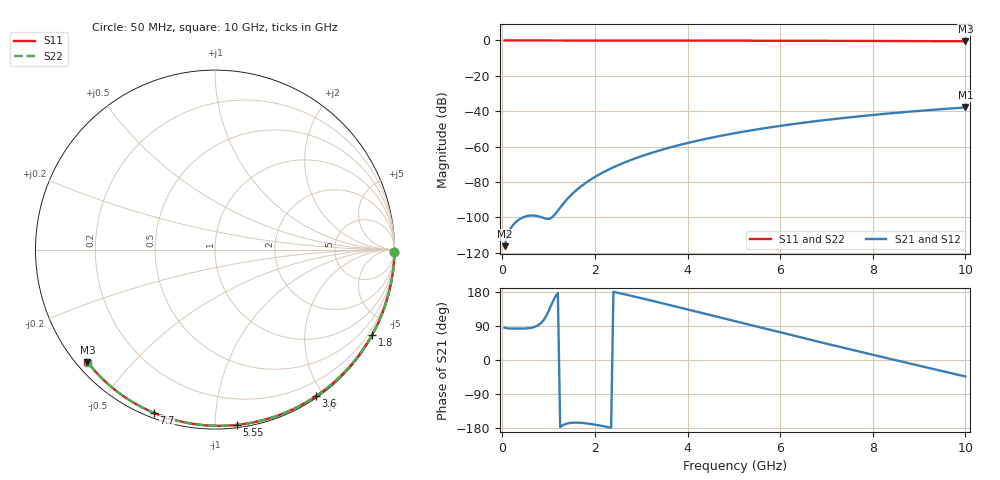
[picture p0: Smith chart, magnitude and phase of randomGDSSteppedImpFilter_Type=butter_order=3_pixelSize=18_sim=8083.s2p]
! freq	dB(S11)	phase(S11)	dB(S12)	phase(S12)
!  dB(S21)	phase(S21)	dB(S22)	phase(S22)
!S-par simulation data
#  GHz  S  DB  R 50
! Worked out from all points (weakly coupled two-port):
!   200 points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, 50 MHz to 10 GHz, reference 50 ohm
!   highest |S21| = -37.85 dB at 10 GHz (marker M1); lowest = -116.2 dB at 50 MHz (marker M2)
!   lowest |S11| = -0.5 dB at 10 GHz (marker M3), VSWR 36.95, Z = 1.55 - j18.8 ohm
!   |S11| at or under -10 dB: nowhere
!   |S22| runs from -0.5 to 0.0 dB; largest |S21 - S12| = 0
!   S11 on the Smith chart (normalised r, x): 50 MHz: open; 1.8 GHz: 0.03, -3.95; 3.6 GHz: 0.02, -1.90; 5.55 GHz: 0.02, -1.13; 7.7 GHz: 0.02, -0.69; 10 GHz: 0.03, -0.38
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0.05  -0.00 -0.8  -116.23 85.4  -116.23 85.4  -0.00 -0.8
0.45  -0.01 -7.2  -99.94 83.0  -99.94 83.0  -0.01 -7.2
0.9  -0.02 -14.4  -100.39 106.5  -100.39 106.5  -0.02 -14.3
1.75  -0.04 -27.7  -81.44 -166.4  -81.44 -166.4  -0.04 -27.6
1.8  -0.04 -28.4  -80.50 -167.0  -80.50 -167.0  -0.04 -28.3
1.85  -0.04 -29.2  -79.60 -167.8  -79.60 -167.8  -0.04 -29.1
2.05  -0.04 -32.3  -76.35 -171.7  -76.35 -171.7  -0.04 -32.2
2.25  -0.05 -35.4  -73.54 -176.3  -73.54 -176.3  -0.05 -35.3
2.55  -0.05 -39.9  -69.92 175.9  -69.92 175.9  -0.05 -39.8
2.95  -0.06 -45.9  -65.89 164.6  -65.89 164.6  -0.06 -45.8
3.4  -0.07 -52.6  -62.11 151.4  -62.11 151.4  -0.07 -52.5
3.6  -0.07 -55.5  -60.62 145.5  -60.62 145.5  -0.07 -55.4
3.9  -0.08 -59.9  -58.58 136.4  -58.58 136.4  -0.08 -59.7
4.3  -0.09 -65.6  -56.14 124.3  -56.14 124.3  -0.09 -65.4
5.05  -0.12 -76.1  -52.25 101.6  -52.25 101.6  -0.12 -75.8
5.55  -0.14 -82.9  -50.04 86.5  -50.04 86.5  -0.14 -82.6
6.1  -0.16 -90.2  -47.89 69.9  -47.89 69.9  -0.16 -89.9
6.7  -0.19 -98.0  -45.83 52.0  -45.83 52.0  -0.19 -97.7
7.7  -0.25 -110.6  -42.89 22.5  -42.89 22.5  -0.25 -110.3
8.35  -0.30 -118.6  -41.25 3.7  -41.25 3.7  -0.30 -118.3
9.2  -0.38 -129.0  -39.38 -20.7  -39.38 -20.7  -0.38 -128.6
10  -0.47 -138.7  -37.85 -43.5  -37.85 -43.5  -0.47 -138.2
